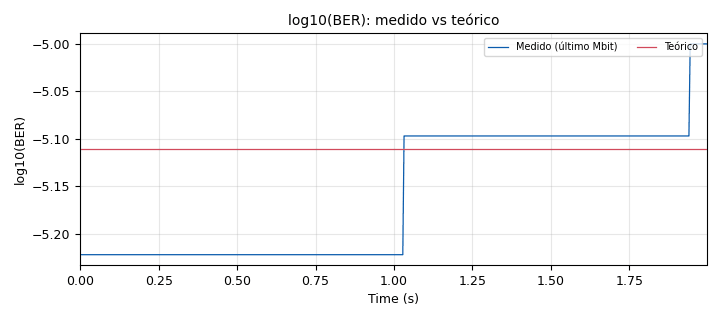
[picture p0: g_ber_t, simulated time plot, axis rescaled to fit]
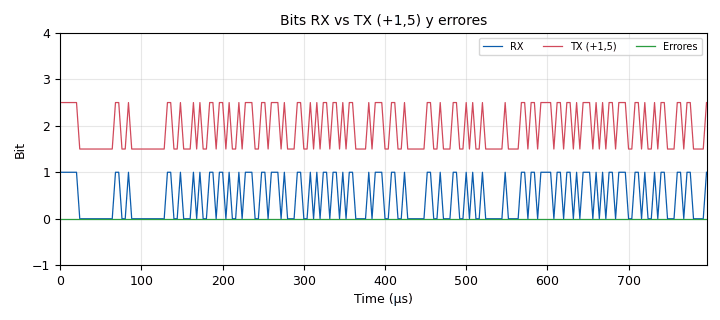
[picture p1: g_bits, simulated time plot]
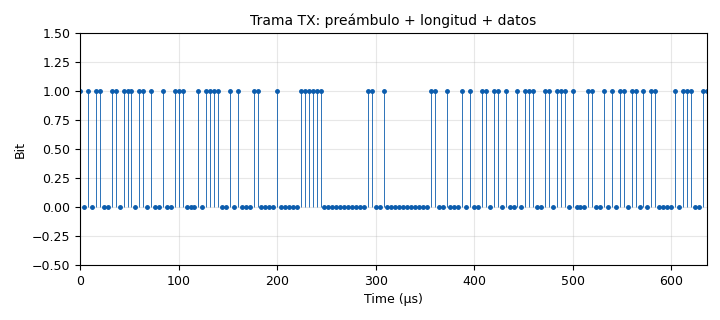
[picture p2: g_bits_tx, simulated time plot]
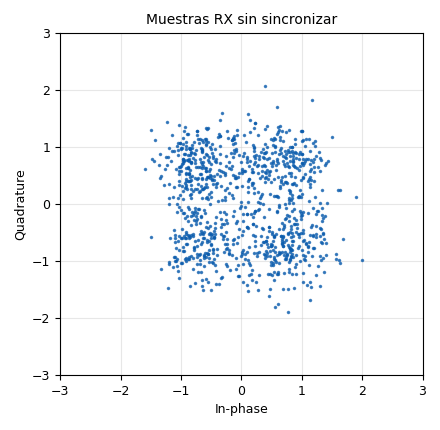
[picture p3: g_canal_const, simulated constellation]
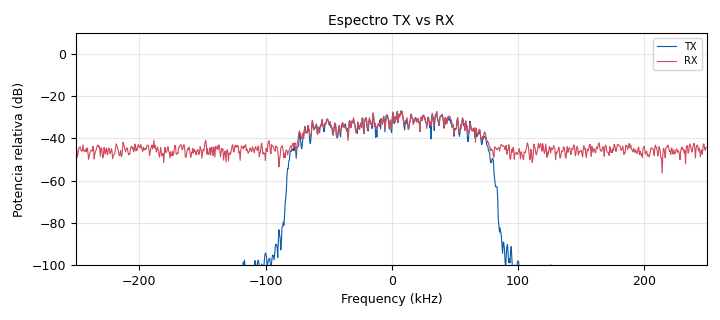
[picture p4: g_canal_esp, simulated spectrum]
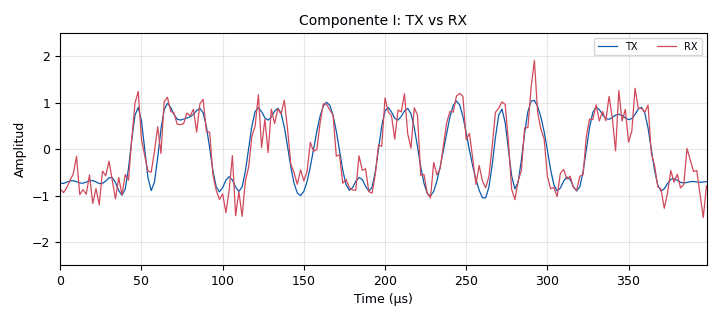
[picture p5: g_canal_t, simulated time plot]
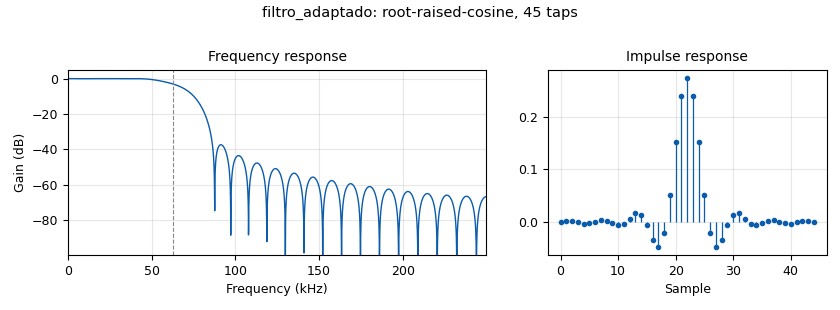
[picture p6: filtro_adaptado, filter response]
options:
  parameters:
    author: Juan Gerez
    comment: |-
      Opciones del flowgraph: título de la ventana,
      interfaz QT GUI y nombre del programa que arma
      GRC al apretar F6 (enlace_4qam_tramas.py, en
      esta misma carpeta).
    description: Enlace 4-QAM con tramas (preámbulo + longitud + CRC-32) y medición de BER, solo bloques estándar de GNU Radio
    generate_options: qt_gui
    id: enlace_4qam_tramas
    output_language: python
    title: Enlace 4-QAM con tramas y BER (bloques estándar)
  states: {}

blocks:
- name: L
  id: variable
  parameters:
    comment: |-
      Bytes de payload por trama (largo del
      mensaje).
    value: len(payload)
  states: {}
- name: ber_acum_log
  id: variable_function_probe
  parameters:
    block_id: sonda_ber_acum
    comment: |-
      Lee 4 veces por segundo el log10 del BER
      acumulado (bloque "sonda_ber_acum").
    function_name: level
    poll_rate: '4'
    value: '0'
  states: {}
- name: ber_rec
  id: variable_function_probe
  parameters:
    block_id: sonda_ber_ventana
    comment: |-
      Lee 4 veces por segundo el BER del último
      millón de bits (bloque "sonda_ber_ventana").
    function_name: level
    poll_rate: '4'
    value: '0'
  states: {}
- name: ber_teo
  id: variable
  parameters:
    comment: |-
      BER teórico de 4-QAM con codificación
      diferencial: 2 p (1 - p). Un bit sale mal si
      exactamente uno de los dos símbolos que se
      comparan se decidió mal.
    value: 2 * p_qpsk * (1 - p_qpsk)
  states: {}
- name: bits_trama
  id: variable
  parameters:
    comment: |-
      Bits de cada trama: preámbulo 64 + longitud 2
      × 16 + payload + CRC-32.
    value: 8*(8 + 4 + L + 4)
  states: {}
- name: cfo_hz
  id: variable_qtgui_range
  parameters:
    comment: |-
      Control de la ventana: desvío de frecuencia
      del canal (CFO), en Hz. Lo corrige el lazo de
      Costas.
    gui_hint: 0,4,1,2
    label: CFO [Hz]
    min_len: '150'
    start: '-1000'
    step: '10'
    stop: '1000'
    value: '0'
  states: {}
- name: costas_bw
  id: variable_qtgui_range
  parameters:
    comment: |-
      Control de la ventana: ancho de banda del lazo
      de Costas. Más grande = corrige más rápido,
      pero con más ruido.
    gui_hint: 1,0,1,1
    label: BW lazo de Costas
    min_len: '100'
    start: '0.001'
    step: '0.001'
    stop: '0.1'
    value: '0.005'
    widget: counter
  states: {}
- name: ebn0_db
  id: variable_qtgui_range
  parameters:
    comment: |-
      Control de la ventana: Eb/N0 del canal en dB
      (0 a 15). Cambia el nivel del ruido (variable
      "ruido").
    gui_hint: 0,0,1,2
    label: Eb/N0 [dB]
    min_len: '150'
    start: '0'
    step: '0.5'
    stop: '15'
    value: '10'
  states: {}
- name: excess_bw
  id: variable
  parameters:
    comment: |-
      Roll-off del filtro RRC (0,35): cuánto más
      ancho que el mínimo es el espectro. La señal
      ocupa 125 k × 1,35 ≈ 170 kHz.
    value: '0.35'
  states: {}
- name: fase_deg
  id: variable_qtgui_range
  parameters:
    comment: |-
      Control de la ventana: fase que gira el canal,
      en grados. La corrige el lazo de Costas.
    gui_hint: 0,2,1,2
    label: Fase del canal [°]
    min_len: '150'
    start: '-180'
    step: '1'
    stop: '180'
    value: '0'
  states: {}
- name: formato_trama
  id: variable_header_format_default
  parameters:
    access_code: '0'
    bps: '1'
    comment: |-
      Formato del encabezado de cada trama:
      preámbulo de 64 bits (Access Code 0 = el
      preámbulo estándar de GNU Radio) + longitud
      del payload en 16 bits, escrita 2 veces. Lo
      usan los Protocol Formatter.
    threshold: '0'
  states: {}
- name: lbl_acum
  id: variable_qtgui_label
  parameters:
    comment: |-
      Muestra en la ventana el BER medido desde que
      arrancó.
    formatter: 'lambda x: ''%.2e'' % x'
    gui_hint: 1,3,1,1
    label: 'BER medido (acum.): '
    type: real
    value: 10**ber_acum_log
  states: {}
- name: lbl_ratio
  id: variable_qtgui_label
  parameters:
    comment: |-
      Muestra en la ventana el cociente BER medido /
      BER teórico (cerca de 1 = el receptor anda
      como dice la teoría).
    formatter: 'lambda x: ''%.2f'' % x'
    gui_hint: 1,5,1,1
    label: 'Medido (último Mbit) / teórico: '
    type: real
    value: ber_rec / ber_teo
  states: {}
- name: lbl_rec
  id: variable_qtgui_label
  parameters:
    comment: |-
      Muestra en la ventana el BER del último millón
      de bits.
    formatter: 'lambda x: ''%.2e'' % x'
    gui_hint: 1,4,1,1
    label: 'BER medido (último Mbit): '
    type: real
    value: ber_rec
  states: {}
- name: lbl_teo
  id: variable_qtgui_label
  parameters:
    comment: |-
      Muestra en la ventana el BER teórico para el
      Eb/N0 elegido.
    formatter: 'lambda x: ''%.2e'' % x'
    gui_hint: 1,2,1,1
    label: 'BER teórico: '
    type: real
    value: ber_teo
  states: {}
- name: mensaje
  id: variable
  parameters:
    comment: |-
      Texto que viaja en el payload de cada trama
      (todas las tramas llevan el mismo mensaje).
    value: '"Sistemas de Comunicaciones Digitales - FACET UNT - enlace 4-QAM half-duplex en GNU Radio!!!!!!!!"'
  states: {}
- name: p_qpsk
  id: variable
  parameters:
    comment: |-
      p = Q(raíz(2 Eb/N0)): probabilidad de decidir
      mal un eje de la 4-QAM.
    value: 0.5 * math.erfc(math.sqrt(10**(ebn0_db / 10)))
  states: {}
- name: payload
  id: variable
  parameters:
    comment: |-
      El mensaje como lista de bytes (números de 0 a
      255).
    value: list(mensaje.encode())
  states: {}
- name: qpsk
  id: variable_constellation_rect
  parameters:
    comment: |-
      Constelación 4-QAM: 4 puntos (±0,707 ± j0,707)
      con código Gray (Symbol Map 0, 1, 3, 2: los
      vecinos difieren en un solo bit). La usan el
      modulador y el decisor.
    const_points: '[-0.707-0.707j, 0.707-0.707j, +0.707+0.707j, -0.707+0.707j]'
    imag_sect: '2'
    real_sect: '2'
    rot_sym: '4'
    sym_map: '[0, 1, 3, 2]'
    w_imag_sect: '1'
    w_real_sect: '1'
  states: {}
- name: ruido
  id: variable
  parameters:
    comment: |-
      Amplitud del ruido que agrega el canal,
      calculada para que haya el Eb/N0 elegido: la
      señal tiene potencia 1 y 4 muestras por
      símbolo, y Es/N0 = 2 Eb/N0 (2 bits por
      símbolo).
    value: math.sqrt(sps / (2 * 10**(ebn0_db / 10)))
  states: {}
- name: samp_rate
  id: variable
  parameters:
    comment: |-
      Muestreo: 500 000 muestras por segundo. Con 4
      muestras por símbolo son 125 000 símbolos/s =
      250 kbit/s.
    value: '500000'
  states: {}
- name: sps
  id: variable
  parameters:
    comment: Muestras por símbolo (4).
    value: '4'
  states: {}
- name: sync_bw
  id: variable_qtgui_range
  parameters:
    comment: |-
      Control de la ventana: ancho de banda del lazo
      del sincronismo de símbolo.
    gui_hint: 1,1,1,1
    label: BW sinc. de símbolo
    min_len: '100'
    start: '0.001'
    step: '0.001'
    stop: '0.1'
    value: '0.01'
    widget: counter
  states: {}
- name: umbral
  id: variable
  parameters:
    comment: |-
      Cuántos bits del preámbulo (de 64) pueden
      llegar mal y aun así se acepta la trama.
    value: '12'
  states: {}
- name: ventana
  id: variable
  parameters:
    comment: |-
      Cantidad de bits que se promedian para el BER
      "reciente" (1 millón).
    value: '1000000'
  states: {}
- name: a_bits
  id: blocks_unpack_k_bits_bb
  parameters:
    comment: |-
      Separa cada número en sus 2 bits (primero el
      más significativo).
      Entra: bytes con 2 bits útiles (0 a 3), 125
        k/s.
      Sale: bits sueltos (1 bit por byte: 0 o 1),
        250 k/s.
    k: '2'
  states: {}
- name: a_bytes
  id: blocks_repack_bits_bb
  parameters:
    align_output: 'True'
    comment: |-
      Junta los bits de a 8 para volver a formar
      bytes, respetando dónde empieza cada trama
      (packet_len).
      Entra: bits sueltos (1 por byte).
      Sale: bytes: L + 4 por trama (packet_len).
    endianness: gr.GR_MSB_FIRST
    k: '1'
    l: '8'
    len_tag_key: '"packet_len"'
    minoutbuf: '70000'
  states: {}
- name: a_paquetes
  id: blocks_stream_to_tagged_stream
  parameters:
    comment: |-
      Corta el flujo en grupos de L bytes
      (uno por trama) y marca el comienzo
      de cada grupo con la etiqueta
      packet_len. Así los bloques
      siguientes saben dónde empieza y
      termina cada trama.
      Entra: bytes sin marcas.
      Sale: los mismos bytes, en grupos de
        L marcados con packet_len.
    len_tag_key: '"packet_len"'
    packet_len: L
    type: byte
  states: {}
- name: a_pdu
  id: pdu_tagged_stream_to_pdu
  parameters:
    comment: |-
      Convierte cada payload correcto (marcado con
      packet_len) en un mensaje (PDU).
      Entra: bytes con packet_len.
      Sale: mensajes (PDU).
    tag: '"packet_len"'
    type: byte
  states: {}
- name: acelerador
  id: blocks_throttle2
  parameters:
    comment: |-
      Frena el flujo a 500 k
      muestras/s (samp_rate): así la
      simulación va a tiempo real y
      no usa toda la CPU.
      Entra: complejos.
      Sale: los mismos complejos, a
        500 k/s.
    samples_per_second: samp_rate
    type: complex
  states: {}
- name: alinear
  id: blocks_tagged_stream_align
  parameters:
    comment: |-
      Descarta los bits que llegan antes
      de la primera etiqueta
      inicio_trama: así lo recibido
      arranca justo después de un
      preámbulo, alineado con la copia
      del transmisor.
      Entra: bits con etiquetas.
      Sale: bits alineados.
    lengthtagname: '"inicio_trama"'
    type: byte
  states: {}
- name: archivo_mensajes
  id: blocks_file_sink
  parameters:
    comment: |-
      Guarda esos mensajes en mensajes_recibidos.txt
      (en la carpeta de este .grc).
      Entra: bytes.
      Sale: nada (escribe el archivo).
    file: '"mensajes_recibidos.txt"'
    type: byte
    unbuffered: 'True'
  states: {}
- name: ber_ventana
  id: blocks_moving_average_xx
  parameters:
    comment: |-
      Promedia los errores en el último millón de
      bits: da el BER reciente.
      Entra: reales (0 o 1).
      Sale: reales: BER.
    length: ventana
    max_iter: '4000'
    scale: 1.0/ventana
    type: float
  states: {}
- name: bits_tx_float
  id: blocks_char_to_float
  parameters:
    comment: |-
      Pasa cada bit a número real, para el gráfico.
      Entra: bytes (0 o 1).
      Sale: reales.
    scale: '1'
  states: {}
- name: bits_tx_unpack
  id: blocks_unpack_k_bits_bb
  parameters:
    comment: |-
      Separa cada byte de la trama en sus 8 bits,
      para graficarlos.
      Entra: bytes.
      Sale: bits sueltos (0 o 1, 1 por byte).
    k: '8'
  states: {}
- name: cfo
  id: blocks_rotator_cc
  parameters:
    comment: |-
      Agrega el desvío de
      frecuencia (CFO): la señal
      gira cada vez más
      (multiplica por
      e^(j·2π·CFO·t)).
      Entra: complejos.
      Sale: complejos con CFO.
    phase_inc: 2 * math.pi * cfo_hz / samp_rate
  states: {}
- name: cfo_real
  id: analog_sig_source_x
  parameters:
    amp: cfo_hz
    comment: |-
      Genera un valor constante igual al CFO
      elegido, para compararlo con lo que estima
      Costas.
      Entra: nada (es una fuente).
      Sale: reales (Hz).
    freq: '0'
    offset: '0'
    phase: '0'
    samp_rate: samp_rate/sps
    type: float
    waveform: analog.GR_CONST_WAVE
  states: {}
- name: comparar
  id: blocks_xor_xx
  parameters:
    comment: |-
      Compara bit a bit lo recibido con lo
      transmitido (XOR): sale 1 donde hay un error y
      0 donde coinciden.
      Entra: in0 = bits recibidos, in1 = bits
        transmitidos (1 por byte).
      Sale: bytes: 1 = error, 0 = bien.
    type: byte
  states: {}
- name: consola
  id: blocks_message_debug
  parameters:
    comment: |-
      (Deshabilitado) Si se habilita, escribe cada
      mensaje recibido en la consola de GRC.
      Entra: mensajes (PDU).
      Sale: nada.
  states: {state: disabled}
- name: costas
  id: digital_costas_loop_cc
  parameters:
    comment: |-
      Lazo de Costas de orden 4: corrige
      la fase y el desvío de frecuencia
      del canal, para que la
      constelación quede quieta en los 4
      puntos.
      Entra: complejos, 1 muestra por
        símbolo.
      Sale: out0 = símbolos corregidos
        (complejos); out1 = frecuencia
        que corrige (rad/símbolo); out2
        = fase y out3 = error (no se
        usan).
    order: '4'
    w: costas_bw
  states: {}
- name: costas_re
  id: blocks_complex_to_real
  parameters:
    comment: |-
      Se queda con la parte real (I) de los símbolos
      corregidos.
      Entra: complejos.
      Sale: reales.
  states: {}
- name: crc_rx
  id: digital_crc32_bb
  parameters:
    check: 'True'
    comment: |-
      Vuelve a calcular el CRC-32 de
      cada trama: si coincide, la deja
      pasar sin los 4 bytes del CRC;
      si no, la descarta (tenía
      errores).
      Entra: bytes: payload + CRC (L +
        4).
      Sale: bytes: payloads correctos
        (L bytes cada uno).
    lengthtagname: '"packet_len"'
    minoutbuf: '70000'
    packed: 'True'
  states: {}
- name: crc_tx
  id: digital_crc32_bb
  parameters:
    check: 'False'
    comment: |-
      Calcula el CRC-32 de cada payload y se lo
      agrega al final (4 bytes). El receptor lo
      vuelve a calcular para descartar las tramas
      con errores.
      Entra: bytes: payload de L bytes (packet_len).
      Sale: bytes: payload + CRC = L + 4 bytes.
    lengthtagname: '"packet_len"'
    packed: 'True'
  states: {}
- name: dec_diferencial
  id: digital_diff_decoder_bb
  parameters:
    coding: digital.DIFF_DIFFERENTIAL
    comment: |-
      Decodificación diferencial: resta el símbolo
      anterior (módulo 4), o sea, mide el cambio de
      fase. Por eso no importa si Costas quedó
      girado 90°, 180° o 270°.
      Entra: símbolos 0 a 3 (bytes).
      Sale: símbolos 0 a 3 (el cambio de fase).
    modulus: '4'
  states: {}
- name: decisor
  id: digital_constellation_decoder_cb
  parameters:
    comment: |-
      Decide a cuál de los 4 puntos de la
      constelación está más cerca cada símbolo y
      entrega su número.
      Entra: complejos, 1 por símbolo (125 k/s).
      Sale: bytes con valores 0 a 3 (un símbolo cada
        uno).
    constellation: qpsk
  states: {}
- name: detector_trama
  id: digital_correlate_access_code_xx_ts
  parameters:
    access_code: digital.packet_utils.default_access_code
    comment: |-
      Busca en los bits el preámbulo de 64
      bits (acepta hasta "umbral" bits mal),
      lee la longitud (2 copias que tienen que
      coincidir) y entrega solo el payload +
      CRC de cada trama, marcado con
      packet_len.
      Entra: bits sueltos (1 por byte).
      Sale: bits sueltos: 8 × (L + 4) por
        trama.
      (En Advanced, Min Output Buffer =
      600000: lugar para la trama más larga,
      así una longitud dañada no traba el
      flujo.)
    minoutbuf: '600000'
    tagname: '"packet_len"'
    threshold: umbral
    type: byte
  states: {}
- name: encabezado
  id: digital_protocol_formatter_bb
  parameters:
    comment: |-
      Arma el encabezado de cada trama
      con el formato "formato_trama":
      preámbulo de 64 bits + longitud (2
      veces). Solo produce el
      encabezado, no copia el payload.
      Entra: bytes: payload + CRC
        (packet_len).
      Sale: bytes: encabezado de 12
        bytes (packet_len = 12).
    format: formato_trama
    len_tag_key: '"packet_len"'
  states: {}
- name: errores_float
  id: blocks_char_to_float
  parameters:
    comment: |-
      Pasa cada error (0 o
      1) a número real, para
      promediarlo y
      graficarlo.
      Entra: bytes (0 o 1).
      Sale: reales.
    scale: '1'
  states: {}
- name: fase
  id: blocks_multiply_const_vxx
  parameters:
    comment: |-
      Gira la constelación la
      fase elegida (multiplica
      por e^(j·fase)).
      Entra: complejos.
      Sale: complejos girados.
    const: cmath.exp(1j * math.radians(fase_deg))
    type: complex
  states: {}
- name: filtro_adaptado
  id: filter_fft_rrc_filter
  parameters:
    alpha: excess_bw
    comment: |-
      Filtro adaptado RRC (igual al del
      transmisor): junto con el del TX
      da un pulso sin interferencia
      entre símbolos y deja afuera la
      mayor parte del ruido.
      Entra: complejos, 4 muestras por
        símbolo (500 k/s).
      Sale: complejos filtrados, 4
        muestras por símbolo.
    decim: '1'
    gain: '1'
    ntaps: 11*sps
    samp_rate: samp_rate
    sym_rate: samp_rate/sps
    type: ccc
  states: {}
- name: frec_hz
  id: blocks_multiply_const_vxx
  parameters:
    comment: |-
      Pasa la frecuencia de Costas
      de radianes por símbolo a Hz.
      Entra: reales (rad/símbolo).
      Sale: reales (Hz).
    const: samp_rate / sps / (2 * math.pi)
    type: float
  states: {}
- name: fuente
  id: blocks_vector_source_x
  parameters:
    comment: |-
      Entrega una y otra vez el mensaje (lista
      "payload").
      Entra: nada (es una fuente).
      Sale: bytes del mensaje.
    repeat: 'True'
    type: byte
    vector: payload
  states: {}
- name: g_ber_num
  id: qtgui_number_sink
  parameters:
    comment: |-
      Muestra (pestaña 3) el log10 del BER acumulado
      como número y barra.
      Entra: reales.
      Sale: nada (solo dibuja).
    graph_type: qtgui.NUM_GRAPH_HORIZ
    gui_hint: 'pestanas@2: 1,1,1,1'
    label1: Acumulado
    max: '0'
    min: '-7'
    name: '"log10(BER) acumulado"'
    type: float
    update_time: '0.20'
  states: {}
- name: g_ber_t
  id: qtgui_time_sink_x
  parameters:
    comment: |-
      Gráfico (pestaña 3): log10 del BER medido en
      el último millón de bits (azul) y teórico
      (rojo).
      Entra: in0 = medido, in1 = teórico (reales).
      Sale: nada (solo dibuja).
    entags: 'False'
    grid: 'True'
    gui_hint: 'pestanas@2: 1,0,1,1'
    label1: Medido (último Mbit)
    label2: Teórico
    name: '"log10(BER): medido vs teórico"'
    nconnections: '2'
    size: '500'
    srate: samp_rate/sps*2/1000
    type: float
    ylabel: log10(BER)
    ymax: '0'
    ymin: '-6'
  states: {}
- name: g_bits
  id: qtgui_time_sink_x
  parameters:
    comment: |-
      Gráfico (pestaña 3): bits recibidos, bits
      transmitidos (corridos +1,5) y errores (1 =
      error).
      Entra: in0 = RX, in1 = TX + 1,5, in2 = errores
        (reales).
      Sale: nada (solo dibuja).
    entags: 'False'
    grid: 'True'
    gui_hint: 'pestanas@2: 0,0,1,1'
    label1: RX
    label2: TX (+1,5)
    label3: Errores
    name: '"Bits RX vs TX (+1,5) y errores"'
    nconnections: '3'
    size: '200'
    srate: samp_rate/sps*2
    type: float
    ylabel: Bit
    ymax: '4'
  states: {}
- name: g_bits_tx
  id: qtgui_time_sink_x
  parameters:
    comment: |-
      Gráfico (pestaña 1): los bits de una trama
      transmitida (preámbulo, longitud, payload,
      CRC). Arranca en cada etiqueta packet_len.
      Entra: reales (0 o 1).
      Sale: nada (solo dibuja).
    grid: 'True'
    gui_hint: 'pestanas@0: 0,0,1,1'
    label1: Bits transmitidos
    legend: 'False'
    name: '"Trama TX: preámbulo + longitud + datos"'
    size: '160'
    srate: samp_rate/sps*2
    stemplot: 'True'
    tr_mode: qtgui.TRIG_MODE_TAG
    tr_tag: '"packet_len"'
    type: float
    ylabel: Bit
    ymax: '1.5'
    ymin: '-0.5'
  states: {}
- name: g_canal_const
  id: qtgui_const_sink_x
  parameters:
    alpha1: '0.6'
    comment: |-
      Gráfico (pestaña 1): constelación de las
      muestras RX tal como llegan, sin sincronizar:
      una nube.
      Entra: complejos.
      Sale: nada (solo dibuja).
    grid: 'True'
    gui_hint: 'pestanas@0: 1,2,1,1'
    label1: RX
    legend: 'False'
    name: '"Muestras RX sin sincronizar"'
    size: '1024'
    type: complex
    xmax: '3'
    xmin: '-3'
    ymax: '3'
    ymin: '-3'
  states: {}
- name: g_canal_esp
  id: qtgui_freq_sink_x
  parameters:
    average: '0.2'
    bw: samp_rate
    comment: |-
      Gráfico (pestaña 1): espectro TX (azul) y RX
      (rojo): el ruido llena toda la banda.
      Entra: in0 = TX, in1 = RX (complejos).
      Sale: nada (solo dibuja).
    fc: '0'
    fftsize: '1024'
    grid: 'True'
    gui_hint: 'pestanas@0: 1,1,1,1'
    label: '"Potencia relativa"'
    label1: TX
    label2: RX
    name: '"Espectro TX vs RX"'
    nconnections: '2'
    type: complex
    ymin: '-100'
  states: {}
- name: g_canal_t
  id: qtgui_time_sink_x
  parameters:
    comment: |-
      Gráfico (pestaña 1): componente I de la señal
      TX y de la RX, superpuestas: se ve el ruido
      que agrega el canal.
      Entra: in0 = TX, in1 = RX (reales).
      Sale: nada (solo dibuja).
    grid: 'True'
    gui_hint: 'pestanas@0: 1,0,1,1'
    label1: TX
    label2: RX
    name: '"Componente I: TX vs RX"'
    nconnections: '2'
    size: '200'
    srate: samp_rate
    type: float
    ylabel: Amplitud
    ymax: '2.5'
    ymin: '-2.5'
  states: {}
- name: g_frec
  id: qtgui_time_sink_x
  parameters:
    comment: |-
      Gráfico (pestaña 2): frecuencia que corrige
      Costas (azul) y CFO del canal (rojo): cuando
      Costas se engancha, coinciden.
      Entra: in0 = Costas, in1 = CFO (reales, Hz).
      Sale: nada (solo dibuja).
    entags: 'False'
    grid: 'True'
    gui_hint: 'pestanas@1: 1,1,1,1'
    label1: Costas
    label2: CFO canal
    name: '"Frecuencia de Costas vs CFO [Hz]"'
    nconnections: '2'
    size: '2000'
    srate: samp_rate/sps
    type: float
    ylabel: Hz
    ymax: '1100'
    ymin: '-1100'
  states: {}
- name: g_histograma
  id: qtgui_histogram_sink_x
  parameters:
    bins: '120'
    comment: |-
      Gráfico (pestaña 2): histograma de I después
      de Costas: dos montañas en ±0,7 (más angostas
      con más Eb/N0).
      Entra: reales.
      Sale: nada (solo dibuja).
    grid: 'True'
    gui_hint: 'pestanas@1: 1,2,1,1'
    label1: Componente I
    legend: 'False'
    name: '"Histograma de I tras Costas"'
    size: '4000'
    type: float
    update_time: '0.20'
    xmax: '1.5'
    xmin: '-1.5'
  states: {}
- name: g_mf_t
  id: qtgui_time_sink_x
  parameters:
    comment: |-
      Gráfico (pestaña 2): I y Q a la
      salida del filtro adaptado.
      Entra: complejos (500 k/s).
      Sale: nada (solo dibuja).
    grid: 'True'
    gui_hint: 'pestanas@1: 0,0,1,1'
    label1: I
    label2: Q
    name: '"Salida del filtro adaptado"'
    size: '160'
    srate: samp_rate
    type: complex
    ylabel: Amplitud
    ymax: '1.25'
    ymin: '-1.25'
  states: {}
- name: g_ojo
  id: qtgui_eye_sink_x
  parameters:
    alpha1: '0.5'
    comment: |-
      Gráfico (pestaña 2): diagrama de ojo de I
      (antes del sincronismo y de Costas): muchas
      trazas superpuestas; el "ojo" abierto es el
      mejor instante para muestrear.
      Entra: reales.
      Sale: nada (solo dibuja).
    entags: 'False'
    grid: 'True'
    gui_hint: 'pestanas@1: 0,1,1,1'
    label1: Ojo de la componente I (antes de Costas)
    samp_per_symbol: 4*sps
    size: '2048'
    srate: 4*samp_rate
    type: float
    ylabel: '"Amplitud"'
    ymax: '1.5'
    ymin: '-1.5'
  states: {}
- name: g_payload
  id: qtgui_time_sink_x
  parameters:
    comment: |-
      Gráfico (pestaña 3): bits que
      entrega el detector (payload +
      CRC de cada trama).
      Entra: reales.
      Sale: nada (solo dibuja).
    grid: 'True'
    gui_hint: 'pestanas@2: 0,1,1,1'
    label1: Payload + CRC
    legend: 'False'
    name: '"Payload del detector de tramas"'
    size: 2 * 8 * (L + 4)
    srate: samp_rate/sps*2
    type: float
    ylabel: Bit
    ymax: '1.5'
    ymin: '-0.5'
  states: {}
- name: g_periodo
  id: qtgui_time_sink_x
  parameters:
    comment: |-
      Gráfico (pestaña 2): período de
      símbolo que estima el sincronismo
      (instantáneo y promedio): tiene
      que quedar en 4 muestras.
      Entra: in0 = instantáneo, in1 =
        promedio (reales).
      Sale: nada (solo dibuja).
    entags: 'False'
    grid: 'True'
    gui_hint: 'pestanas@1: 0,2,1,1'
    label1: Instantáneo
    label2: Promedio
    name: '"Período de símbolo estimado [muestras]"'
    nconnections: '2'
    size: '2000'
    srate: samp_rate/sps
    type: float
    ylabel: Muestras
    ymax: '4.5'
    ymin: '3.5'
  states: {}
- name: g_sync_const
  id: qtgui_const_sink_x
  parameters:
    alpha1: '0.6'
    alpha2: '0.6'
    comment: |-
      Gráfico (pestaña 2): constelación antes (azul)
      y después (rojo) de Costas. Después tienen que
      verse 4 grupos de puntos quietos.
      Entra: in0 = antes, in1 = después (complejos,
        1 por símbolo).
      Sale: nada (solo dibuja).
    grid: 'True'
    gui_hint: 'pestanas@1: 1,0,1,1'
    label1: Antes
    label2: Después
    name: '"Constelación antes y después de Costas"'
    nconnections: '2'
    size: '1024'
    type: complex
    xmax: '1.5'
    xmin: '-1.5'
    ymax: '1.5'
    ymin: '-1.5'
  states: {}
- name: g_tx_esp
  id: qtgui_freq_sink_x
  parameters:
    average: '0.2'
    bw: samp_rate
    comment: |-
      Gráfico (pestaña 1): espectro de la señal
      transmitida: ocupa unos ±85 kHz.
      Entra: complejos.
      Sale: nada (solo dibuja).
    fc: '0'
    fftsize: '1024'
    grid: 'True'
    gui_hint: 'pestanas@0: 0,2,1,1'
    label: '"Potencia relativa"'
    label1: TX
    legend: 'False'
    name: '"Espectro de la señal TX"'
    type: complex
    ymin: '-100'
  states: {}
- name: g_tx_iq
  id: qtgui_time_sink_x
  parameters:
    comment: |-
      Gráfico (pestaña 1): I (azul) y Q (rojo) de la
      señal transmitida.
      Entra: complejos.
      Sale: nada (solo dibuja).
    grid: 'True'
    gui_hint: 'pestanas@0: 0,1,1,1'
    label1: I
    label2: Q
    name: '"Señal TX (salida del modulador)"'
    size: '200'
    srate: samp_rate
    type: complex
    ylabel: Amplitud
    ymax: '1.25'
    ymin: '-1.25'
  states: {}
- name: imports
  id: import
  parameters:
    comment: |-
      Módulos de Python que usan las variables y los
      bloques: math y cmath (cuentas con números
      complejos).
    imports: import math, cmath
  states: {}
- name: log_ber
  id: blocks_nlog10_ff
  parameters:
    comment: |-
      Calcula el log10 del BER.
      Entra: reales.
      Sale: reales: log10(BER).
    k: '0'
  states: {}
- name: log_teo
  id: analog_sig_source_x
  parameters:
    amp: math.log10(ber_teo)
    comment: |-
      Genera un valor constante
      igual al log10 del BER
      teórico, para el gráfico.
      Entra: nada (es una fuente).
      Sale: reales.
    freq: '0'
    offset: '0'
    phase: '0'
    samp_rate: samp_rate/sps*2/1000
    type: float
    waveform: analog.GR_CONST_WAVE
  states: {}
- name: mapa_gray
  id: digital_map_bb
  parameters:
    comment: |-
      Deshace el código Gray: cambia cada símbolo
      por los 2 bits que mandó el transmisor (0->0,
      1->1, 2->3, 3->2).
      Entra: símbolos 0 a 3 (bytes).
      Sale: números 0 a 3 = 2 bits de datos (bytes).
    map: '[0, 1, 3, 2]'
  states: {}
- name: marca_preambulo
  id: digital_correlate_access_code_tag_xx
  parameters:
    access_code: digital.packet_utils.default_access_code
    comment: |-
      Busca el preámbulo en los bits y pone una
      etiqueta "inicio_trama" donde termina. No
      quita nada.
      Entra: bits sueltos (1 por byte).
      Sale: los mismos bits, con etiquetas
        inicio_trama.
    tagname: '"inicio_trama"'
    threshold: umbral
    type: byte
  states: {}
- name: medidor_ber
  id: fec_ber_bf
  parameters:
    comment: |-
      Cuenta los bits
      distintos entre sus
      dos entradas desde
      el comienzo y
      entrega el log10 del
      BER acumulado (con 0
      errores da
      -infinito).
      Entra: in0 = bytes
        recibidos, in1 =
        bytes
        transmitidos.
      Sale: reales:
        log10(BER
        acumulado).
    test_mode: 'False'
  states: {}
- name: mf_re
  id: blocks_complex_to_real
  parameters:
    comment: |-
      Se queda con la parte real (I), para el
      diagrama de ojo.
      Entra: complejos.
      Sale: reales.
  states: {}
- name: modulador
  id: digital_constellation_modulator
  parameters:
    comment: |-
      Modulador 4-QAM: toma los bytes de a 2 bits,
      aplica la codificación diferencial (la
      información va en el cambio de fase entre
      símbolos) y forma cada pulso con un filtro RRC
      (roll-off 0,35).
      Entra: bytes (8 bits cada uno).
      Sale: complejos (I + jQ), 4 muestras por
        símbolo (500 k muestras/s).
    constellation: qpsk
    differential: 'True'
    excess_bw: excess_bw
    samples_per_symbol: sps
  states: {}
- name: nota_ber
  id: note
  parameters:
    comment: |-
      BER
      se alinea lo recibido con el primer preámbulo
      (Correlate Access Code - Tag + Tagged Stream
      Align) y se compara bit a bit (XOR) con una
      copia del transmisor. Todas las tramas son
      iguales y van una tras otra.
    note: 'BER: se alinea el flujo recibido con el primer preámbulo (Tag + Tagged Stream Align) y se compara bit a bit (XOR) con una copia del transmisor. Todas las tramas son iguales y van una tras otra.'
  states: {}
- name: nota_canal
  id: note
  parameters:
    comment: |-
      CANAL
      rotación de fase + desvío de frecuencia
      (Rotator) + ruido gaussiano (Noise Source). No
      se usa "Channel Model" porque repite solo
      16384 valores de ruido (da un BER falso a
      Eb/N0 alto).
    note: 'CANAL: rotación de fase + desvío de frecuencia (Rotator) + ruido gaussiano (Noise Source). No se usa ''Channel Model'' porque reutiliza solo 16384 valores de ruido (BER falso a Eb/N0 alto).'
  states: {}
- name: nota_rx
  id: note
  parameters:
    comment: |-
      RECEPTOR
      filtro adaptado RRC -> sincronismo de símbolo
      -> lazo de Costas (fase y frecuencia) ->
      decisión 4-QAM -> decodificación diferencial
      -> bits
    note: 'RECEPTOR: filtro adaptado RRC -> sincronismo de símbolo -> lazo de Costas (fase y frecuencia) -> decisión 4-QAM -> decodificación diferencial -> bits'
  states: {}
- name: nota_tramas
  id: note
  parameters:
    comment: |-
      TRAMAS
      busca el preámbulo, lee la longitud (2 copias
      iguales) y entrega el payload; el CRC-32
      descarta las tramas con errores. "Min Output
      Buffer" grande en el detector: una longitud
      dañada no cuelga el flujo.
    note: 'TRAMAS: busca el preámbulo, lee la longitud (2 copias iguales) y entrega el payload; el CRC-32 descarta las tramas con errores. ''Min Output Buffer'' grande: una longitud dañada no cuelga el flujo.'
  states: {}
- name: nota_tx
  id: note
  parameters:
    comment: |-
      TRANSMISOR
      payload (mensaje) -> CRC-32 -> encabezado
      [preámbulo 64 bits | longitud | longitud] ->
      modulador 4-QAM diferencial con filtro RRC
    note: 'TRANSMISOR: payload (mensaje) -> CRC-32 -> encabezado [preámbulo 64 b | longitud | longitud] -> modulador 4-QAM diferencial con filtro RRC'
  states: {}
- name: ojo_interp
  id: rational_resampler_xxx
  parameters:
    comment: |-
      Agrega 3 muestras entre cada par (interpola ×
      4: 16 por símbolo) solo para que el diagrama
      de ojo se vea suave.
      Entra: complejos (500 k/s).
      Sale: complejos (2 M/s).
    decim: '1'
    interp: '4'
    type: ccc
  states: {}
- name: payload_float
  id: blocks_char_to_float
  parameters:
    comment: |-
      Pasa cada bit a número real, para el gráfico.
      Entra: bits sueltos (bytes 0 o 1).
      Sale: reales.
    scale: '1'
  states: {}
- name: pestanas
  id: qtgui_tab_widget
  parameters:
    comment: |-
      Las 3 pestañas de la ventana: 1. Transmisor y
      canal, 2. Receptor (filtro adaptado y
      sincronismo), 3. Tramas, bits y BER. Cada
      gráfico dice en su "GUI Hint" en qué pestaña
      va.
    gui_hint: 2,0,1,6
    label0: 1. Transmisor y canal
    label1: '2. Receptor: filtro adaptado y sincronismo'
    label2: 3. Tramas, bits y BER
    num_tabs: '3'
  states: {}
- name: ref_bit_float
  id: blocks_char_to_float
  parameters:
    comment: |-
      Pasa los bits transmitidos a números reales,
      para el gráfico.
      Entra: bits sueltos.
      Sale: reales.
    scale: '1'
  states: {}
- name: ref_bits
  id: blocks_unpack_k_bits_bb
  parameters:
    comment: |-
      Separa cada byte de las tramas de referencia
      en sus 8 bits (primero el más significativo).
      Entra: bytes.
      Sale: bits sueltos (1 por byte).
    k: '8'
  states: {}
- name: ref_bytes_ber
  id: blocks_repack_bits_bb
  parameters:
    comment: |-
      Junta los bits transmitidos de a 8, como los
      recibidos.
      Entra: bits sueltos.
      Sale: bytes.
    endianness: gr.GR_MSB_FIRST
    k: '1'
    l: '8'
  states: {}
- name: ref_crc
  id: digital_crc32_bb
  parameters:
    check: 'False'
    comment: |-
      Copia del transmisor: agrega el CRC-32 de cada
      payload.
      Entra: bytes: payload (packet_len).
      Sale: bytes: payload + CRC.
    lengthtagname: '"packet_len"'
    packed: 'True'
  states: {}
- name: ref_desplazar
  id: blocks_add_const_vxx
  parameters:
    comment: |-
      Suma 1,5 a los bits transmitidos, para verlos
      separados de los recibidos en el gráfico.
      Entra: reales.
      Sale: reales (1,5 o 2,5).
    const: '1.5'
    type: float
  states: {}
- name: ref_encabezado
  id: digital_protocol_formatter_bb
  parameters:
    comment: |-
      Copia del transmisor: arma el
      encabezado (preámbulo + longitud
      ×2).
      Entra: bytes: payload + CRC.
      Sale: bytes: encabezado (12
        bytes).
    format: formato_trama
    len_tag_key: '"packet_len"'
  states: {}
- name: ref_fuente
  id: blocks_vector_source_x
  parameters:
    comment: |-
      Copia del transmisor, para saber qué bits se
      mandaron: entrega una y otra vez el mismo
      mensaje (lista "payload").
      Entra: nada (es una fuente).
      Sale: bytes.
    repeat: 'True'
    type: byte
    vector: payload
  states: {}
- name: ref_paquetes
  id: blocks_stream_to_tagged_stream
  parameters:
    comment: |-
      Copia del transmisor: corta en
      grupos de L bytes marcados con
      packet_len.
      Entra: bytes.
      Sale: bytes en grupos marcados.
    len_tag_key: '"packet_len"'
    packet_len: L
    type: byte
  states: {}
- name: ref_saltar_preambulo
  id: blocks_skiphead
  parameters:
    comment: |-
      Saltea los primeros 64 bits (el
      primer preámbulo), para arrancar
      en el mismo lugar que lo recibido
      después de "alinear".
      Entra: bits sueltos.
      Sale: los mismos bits, sin los 64
        primeros.
    num_items: '64'
    type: byte
  states: {}
- name: ref_trama
  id: blocks_tagged_stream_mux
  parameters:
    comment: |-
      Copia del transmisor: pone el
      encabezado delante del
      payload.
      Entra: in0 = encabezado, in1 =
        payload + CRC.
      Sale: bytes: tramas completas.
    lengthtagname: '"packet_len"'
    ninputs: '2'
    type: byte
  states: {}
- name: ruido_awgn
  id: analog_noise_source_x
  parameters:
    amp: ruido
    comment: |-
      Genera ruido blanco gaussiano complejo, con la
      amplitud "ruido" (según el Eb/N0 elegido).
      Entra: nada (es una fuente).
      Sale: complejos (ruido).
    noise_type: analog.GR_GAUSSIAN
    seed: '0'
    type: complex
  states: {}
- name: rx_bit_float
  id: blocks_char_to_float
  parameters:
    comment: |-
      Pasa los bits recibidos (ya alineados) a
      números reales, para el gráfico.
      Entra: bits sueltos.
      Sale: reales.
    scale: '1'
  states: {}
- name: rx_bytes_ber
  id: blocks_repack_bits_bb
  parameters:
    comment: |-
      Junta los bits recibidos de a 8, sin mirar
      etiquetas: el medidor de BER compara bytes.
      Entra: bits sueltos.
      Sale: bytes.
    endianness: gr.GR_MSB_FIRST
    k: '1'
    l: '8'
  states: {}
- name: rx_re
  id: blocks_complex_to_real
  parameters:
    comment: |-
      Se queda con la parte
      real (I) de la señal
      RX.
      Entra: complejos.
      Sale: reales.
  states: {}
- name: sinc_err_null
  id: blocks_null_sink
  parameters:
    comment: |-
      Descarta el error del sincronismo
      de símbolo (no se usa).
      Entra: reales.
      Sale: nada.
    type: float
  states: {}
- name: sinc_simbolo
  id: digital_symbol_sync_xx
  parameters:
    comment: |-
      Sincronismo de símbolo: encuentra el mejor
      instante para muestrear cada símbolo (el
      centro del ojo) y entrega una muestra por
      símbolo.
      Entra: complejos, 4 muestras por símbolo (500
        k/s).
      Sale: out0 = complejos, 1 muestra por símbolo
        (125 k/s); out1 = error, out2 = período
        instantáneo y out3 = período promedio del
        reloj (reales).
    damping: '1.0'
    loop_bw: sync_bw
    max_dev: '1.5'
    osps: '1'
    resamp_type: digital.IR_MMSE_8TAP
    sps: sps
    ted_gain: '1.0'
    ted_type: digital.TED_SIGNAL_TIMES_SLOPE_ML
    type: cc
  states: {}
- name: sonda_ber_acum
  id: blocks_probe_signal_x
  parameters:
    comment: |-
      Guarda el último valor que le llega, para que
      la variable ber_acum_log lo pueda leer.
      Entra: reales.
      Sale: nada (se lee con un Function Probe).
    type: float
  states: {}
- name: sonda_ber_ventana
  id: blocks_probe_signal_x
  parameters:
    comment: |-
      Guarda el último valor que le llega, para que
      la variable ber_rec lo pueda leer.
      Entra: reales (BER reciente).
      Sale: nada (se lee con un Function Probe).
    type: float
  states: {}
- name: submuestreo
  id: blocks_keep_one_in_n
  parameters:
    comment: |-
      Se queda con 1 de cada 1000 valores, para que
      el gráfico no tenga que dibujar tantos.
      Entra: reales.
      Sale: reales (1000 veces menos).
    n: '1000'
    type: float
  states: {}
- name: suma_ruido
  id: blocks_add_xx
  parameters:
    comment: |-
      Suma la señal y el ruido: es lo que le llega
      al receptor.
      Entra: in0 = señal, in1 = ruido (complejos).
      Sale: complejos (señal recibida).
    type: complex
  states: {}
- name: trama
  id: blocks_tagged_stream_mux
  parameters:
    comment: |-
      Pone el encabezado delante del
      payload: arma la trama
      completa.
      Entra: in0 = encabezado (12
        bytes), in1 = payload + CRC
        (L + 4 bytes).
      Sale: bytes: trama de L + 16
        bytes (packet_len).
    lengthtagname: '"packet_len"'
    ninputs: '2'
    type: byte
  states: {}
- name: tx_re
  id: blocks_complex_to_real
  parameters:
    comment: |-
      Se queda con la parte
      real (I) de la señal
      TX.
      Entra: complejos.
      Sale: reales.
  states: {}
- name: una_de_cien
  id: blocks_keep_m_in_n
  parameters:
    comment: |-
      De cada 100 mensajes correctos se queda con 1
      (para no llenar el disco).
      Entra: bytes: mensajes correctos (L bytes cada
        uno).
      Sale: bytes: 1 mensaje de cada 100.
    m: L
    n: 100*L
    offset: '0'
    type: byte
  states: {}
- name: vs_bits_rx
  id: virtual_sink
  parameters:
    comment: |-
      Conexión sin cable: los bits recibidos siguen
      en los Virtual Source "bits_rx" (tramas y
      BER).
      Entra: bits sueltos (1 por byte).
      Sale: nada a la vista.
    stream_id: bits_rx
  states: {}
- name: vs_rx
  id: virtual_sink
  parameters:
    comment: |-
      Conexión sin cable: la señal recibida sigue en
      los Virtual Source "senal_rx" (receptor y
      gráficos).
      Entra: complejos.
      Sale: nada a la vista.
    stream_id: senal_rx
  states: {}
- name: vs_tx
  id: virtual_sink
  parameters:
    comment: |-
      Conexión sin cable: la señal que entra acá
      sale por los bloques Virtual Source "senal_tx"
      (canal y gráficos).
      Entra: complejos (señal TX).
      Sale: nada a la vista: sigue en los Virtual
        Source senal_tx.
    stream_id: senal_tx
  states: {}
- name: vsrc_bits_1
  id: virtual_source
  parameters:
    comment: |-
      Toma sin cable los bits
      recibidos (Virtual Sink
      "bits_rx").
      Entra: nada a la vista.
      Sale: bits sueltos.
    stream_id: bits_rx
  states: {}
- name: vsrc_bits_2
  id: virtual_source
  parameters:
    comment: |-
      Toma sin cable los bits
      recibidos (Virtual Sink
      "bits_rx").
      Entra: nada a la vista.
      Sale: bits sueltos.
    stream_id: bits_rx
  states: {}
- name: vsrc_rx
  id: virtual_source
  parameters:
    comment: |-
      Toma sin cable la señal
      recibida (Virtual Sink
      "senal_rx").
      Entra: nada a la vista.
      Sale: complejos.
    stream_id: senal_rx
  states: {}
- name: vsrc_rx_g
  id: virtual_source
  parameters:
    comment: |-
      Toma sin cable la señal
      RX (Virtual Sink
      "senal_rx"), para los
      gráficos.
      Entra: nada a la vista.
      Sale: complejos.
    stream_id: senal_rx
  states: {}
- name: vsrc_tx_ch
  id: virtual_source
  parameters:
    comment: |-
      Toma sin cable la señal TX
      (Virtual Sink "senal_tx").
      Entra: nada a la vista.
      Sale: complejos (señal
        TX).
    stream_id: senal_tx
  states: {}
- name: vsrc_tx_g
  id: virtual_source
  parameters:
    comment: |-
      Toma sin cable la señal TX
      que entra al Virtual Sink
      "senal_tx".
      Entra: nada a la vista.
      Sale: complejos (señal
        TX).
    stream_id: senal_tx
  states: {}
- name: vsrc_tx_g2
  id: virtual_source
  parameters:
    comment: |-
      Toma sin cable la señal
      TX, para compararla con
      la RX.
      Entra: nada a la vista.
      Sale: complejos.
    stream_id: senal_tx
  states: {}

connections:
- [a_bits, '0', vs_bits_rx, '0']
- [a_bytes, '0', crc_rx, '0']
- [a_paquetes, '0', crc_tx, '0']
- [a_pdu, pdus, consola, print]
- [acelerador, '0', vs_tx, '0']
- [alinear, '0', comparar, '0']
- [alinear, '0', rx_bit_float, '0']
- [alinear, '0', rx_bytes_ber, '0']
- [ber_ventana, '0', sonda_ber_ventana, '0']
- [ber_ventana, '0', submuestreo, '0']
- [bits_tx_float, '0', g_bits_tx, '0']
- [bits_tx_unpack, '0', bits_tx_float, '0']
- [cfo, '0', suma_ruido, '0']
- [cfo_real, '0', g_frec, '1']
- [comparar, '0', errores_float, '0']
- [costas, '0', costas_re, '0']
- [costas, '0', decisor, '0']
- [costas, '0', g_sync_const, '1']
- [costas, '1', frec_hz, '0']
- [costas_re, '0', g_histograma, '0']
- [crc_rx, '0', a_pdu, '0']
- [crc_rx, '0', una_de_cien, '0']
- [crc_tx, '0', encabezado, '0']
- [crc_tx, '0', trama, '1']
- [dec_diferencial, '0', mapa_gray, '0']
- [decisor, '0', dec_diferencial, '0']
- [detector_trama, '0', a_bytes, '0']
- [detector_trama, '0', payload_float, '0']
- [encabezado, '0', trama, '0']
- [errores_float, '0', ber_ventana, '0']
- [errores_float, '0', g_bits, '2']
- [fase, '0', cfo, '0']
- [filtro_adaptado, '0', g_mf_t, '0']
- [filtro_adaptado, '0', ojo_interp, '0']
- [filtro_adaptado, '0', sinc_simbolo, '0']
- [frec_hz, '0', g_frec, '0']
- [fuente, '0', a_paquetes, '0']
- [log_ber, '0', g_ber_t, '0']
- [log_teo, '0', g_ber_t, '1']
- [mapa_gray, '0', a_bits, '0']
- [marca_preambulo, '0', alinear, '0']
- [medidor_ber, '0', g_ber_num, '0']
- [medidor_ber, '0', sonda_ber_acum, '0']
- [mf_re, '0', g_ojo, '0']
- [modulador, '0', acelerador, '0']
- [ojo_interp, '0', mf_re, '0']
- [payload_float, '0', g_payload, '0']
- [ref_bit_float, '0', ref_desplazar, '0']
- [ref_bits, '0', ref_saltar_preambulo, '0']
- [ref_bytes_ber, '0', medidor_ber, '1']
- [ref_crc, '0', ref_encabezado, '0']
- [ref_crc, '0', ref_trama, '1']
- [ref_desplazar, '0', g_bits, '1']
- [ref_encabezado, '0', ref_trama, '0']
- [ref_fuente, '0', ref_paquetes, '0']
- [ref_paquetes, '0', ref_crc, '0']
- [ref_saltar_preambulo, '0', comparar, '1']
- [ref_saltar_preambulo, '0', ref_bit_float, '0']
- [ref_saltar_preambulo, '0', ref_bytes_ber, '0']
- [ref_trama, '0', ref_bits, '0']
- [ruido_awgn, '0', suma_ruido, '1']
- [rx_bit_float, '0', g_bits, '0']
- [rx_bytes_ber, '0', medidor_ber, '0']
- [rx_re, '0', g_canal_t, '1']
- [sinc_simbolo, '0', costas, '0']
- [sinc_simbolo, '0', g_sync_const, '0']
- [sinc_simbolo, '1', sinc_err_null, '0']
- [sinc_simbolo, '2', g_periodo, '0']
- [sinc_simbolo, '3', g_periodo, '1']
- [submuestreo, '0', log_ber, '0']
- [suma_ruido, '0', vs_rx, '0']
- [trama, '0', bits_tx_unpack, '0']
- [trama, '0', modulador, '0']
- [tx_re, '0', g_canal_t, '0']
- [una_de_cien, '0', archivo_mensajes, '0']
- [vsrc_bits_1, '0', detector_trama, '0']
- [vsrc_bits_2, '0', marca_preambulo, '0']
- [vsrc_rx, '0', filtro_adaptado, '0']
- [vsrc_rx_g, '0', g_canal_const, '0']
- [vsrc_rx_g, '0', g_canal_esp, '1']
- [vsrc_rx_g, '0', rx_re, '0']
- [vsrc_tx_ch, '0', fase, '0']
- [vsrc_tx_g, '0', g_tx_esp, '0']
- [vsrc_tx_g, '0', g_tx_iq, '0']
- [vsrc_tx_g2, '0', g_canal_esp, '0']
- [vsrc_tx_g2, '0', tx_re, '0']

metadata:
  file_format: 1
  grc_version: 3.10.12.0
